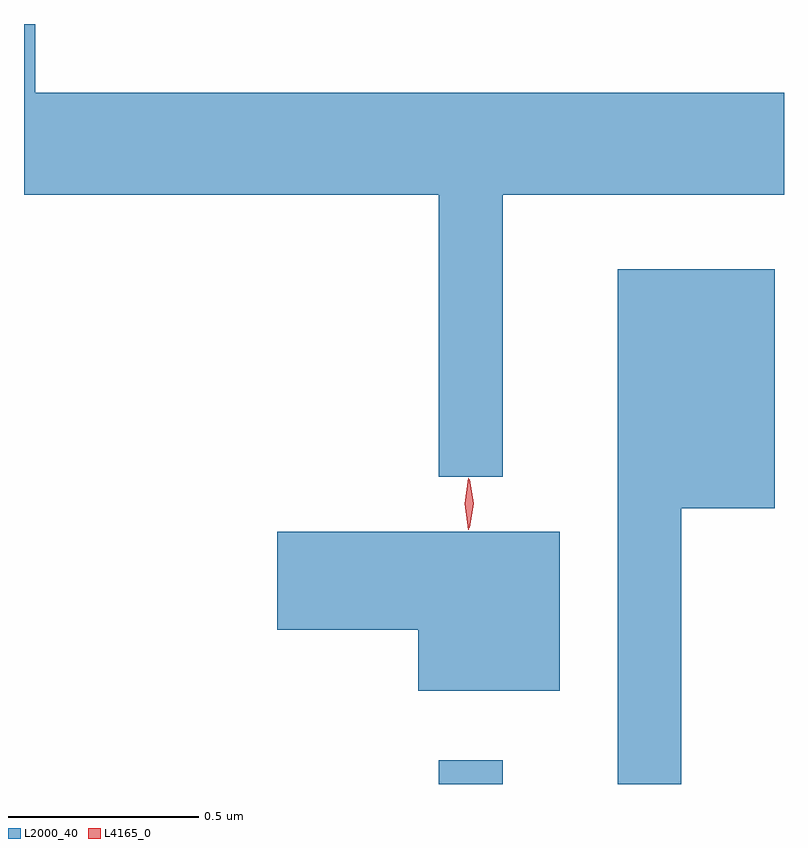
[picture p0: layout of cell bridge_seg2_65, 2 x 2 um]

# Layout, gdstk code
import gdstk
lib = gdstk.Library(unit=1e-6, precision=1e-09)
def R(c, l, rs):  # rectangles x0, y0, x1, y1
    for r in rs: c.add(gdstk.rectangle(r[:2], r[2:], *l))
def P(c, l, *ps):  # polygons
    for p in ps: c.add(gdstk.Polygon(p, *l))
L2000_40 = (2000, 40)
L4165_0 = (4165, 0)

bridge_seg2_65 = lib.new_cell('bridge_seg2_65')
R(bridge_seg2_65, L2000_40, [(1110.011,1064.525,1110.179,1064.588)])
P(bridge_seg2_65, L2000_40, [(1110.179,1066.076),(1110.919,1066.076),(1110.919,1066.344),(1108.949,1066.344),(1108.949,1066.525),(1108.919,1066.525),(1108.919,1066.076),(1110.011,1066.076),(1110.011,1065.333),(1110.179,1065.333)],
  [(1110.649,1065.251),(1110.894,1065.251),(1110.894,1065.879),(1110.481,1065.879),(1110.481,1064.525),(1110.649,1064.525)],
  [(1110.329,1065.189),(1109.586,1065.189),(1109.586,1064.931),(1109.956,1064.931),(1109.956,1064.771),(1110.329,1064.771)])
P(bridge_seg2_65, L4165_0, [(1110.091,1065.2),(1110.082,1065.264),(1110.091,1065.326),(1110.092,1065.327),(1110.092,1065.326),(1110.102,1065.264),(1110.092,1065.2),(1110.092,1065.2)],
  [(1110.088,1065.194),(1110.079,1065.262),(1110.088,1065.33),(1110.089,1065.33),(1110.089,1065.33),(1110.099,1065.262),(1110.089,1065.194),(1110.089,1065.194)])

lib.write_gds('bridge_seg2_65.gds')
